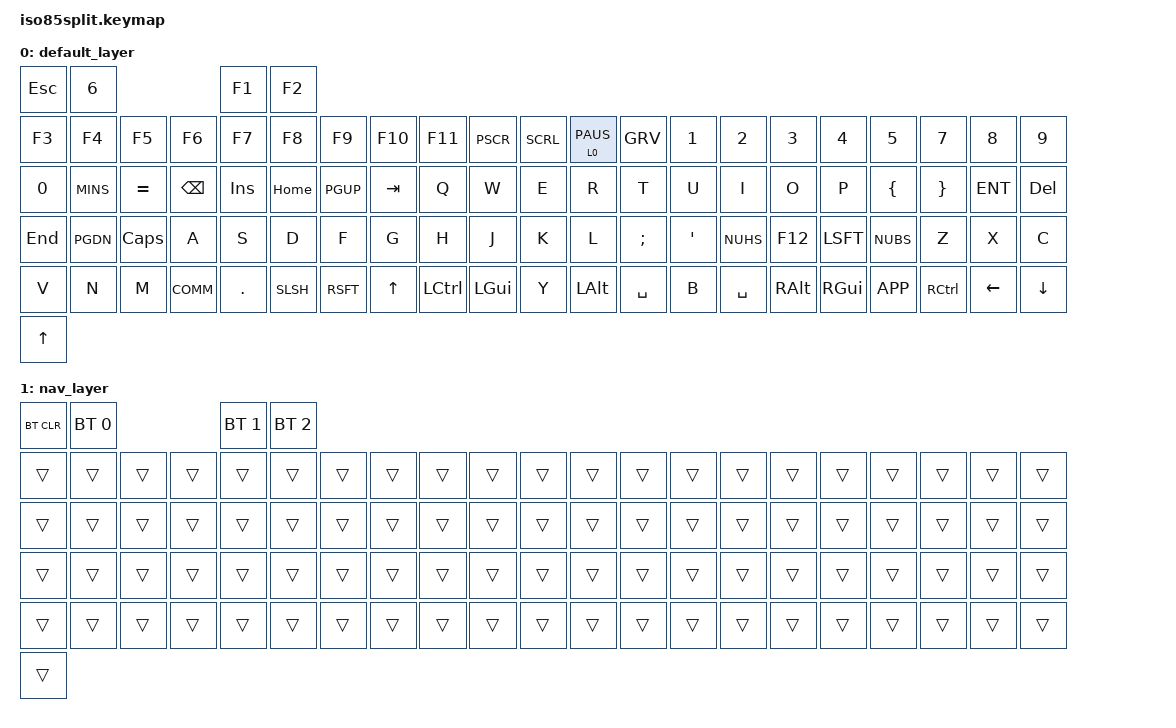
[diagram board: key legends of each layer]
#include <behaviors.dtsi>
#include <dt-bindings/zmk/keys.h>
#include <dt-bindings/zmk/bt.h>

/ {
    
    &lt {
        tapping-terms-ms = <500>;
    };
    
    keymap {
        compatible = "zmk,keymap";

        default_layer {
            bindings = < 
            &kp ESC &kp 6 &kp F1 &kp F2 &kp F3 &kp F4 &kp F5 &kp F6 &kp F7 &kp F8 &kp F9 &kp F10 &kp F11 &kp PSCR &kp SCRL &lt 0 PAUS
            &kp GRV &kp 1 &kp 2 &kp 3 &kp 4 &kp 5 &kp 7 &kp 8 &kp 9 &kp 0 &kp MINS &kp EQL &kp BSPC &kp INS &kp HOME &kp PGUP
            &kp TAB &kp Q &kp W &kp E &kp R &kp T &kp U &kp I &kp O &kp P &kp LBRC &kp RBRC &kp ENT &kp DEL &kp END &kp PGDN
            &kp CAPS &kp A &kp S &kp D &kp F &kp G &kp H &kp J &kp K &kp L &kp SCLN &kp QUOT &kp NUHS &kp F12
            &kp LSFT &kp NUBS &kp Z &kp X &kp C &kp V &kp N &kp M &kp COMM &kp DOT &kp SLSH &kp RSFT &kp UP
            &kp LCTL &kp LGUI &kp Y &kp LALT &kp SPC &kp B &kp SPC &kp RALT &kp RGUI &kp APP &kp RCTL &kp LEFT &kp DOWN &kp UP
            >;
        };

        nav_layer {
            bindings = <
            &bt BT_CLR &bt BT_SEL 0 &bt BT_SEL 1 &bt BT_SEL 2
            &trans &trans &trans &trans &trans &trans &trans &trans &trans &trans &trans &trans &trans &trans &trans &trans &trans &trans &trans &trans &trans
            &trans &trans &trans &trans &trans &trans &trans &trans &trans &trans &trans &trans &trans &trans &trans &trans &trans &trans &trans &trans &trans
            &trans &trans &trans &trans &trans &trans &trans &trans &trans &trans &trans &trans &trans &trans &trans &trans &trans &trans &trans &trans &trans
            &trans &trans &trans &trans &trans &trans &trans &trans &trans &trans &trans &trans &trans &trans &trans &trans &trans &trans &trans &trans &trans
            &trans
            >;
        };
    };
};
